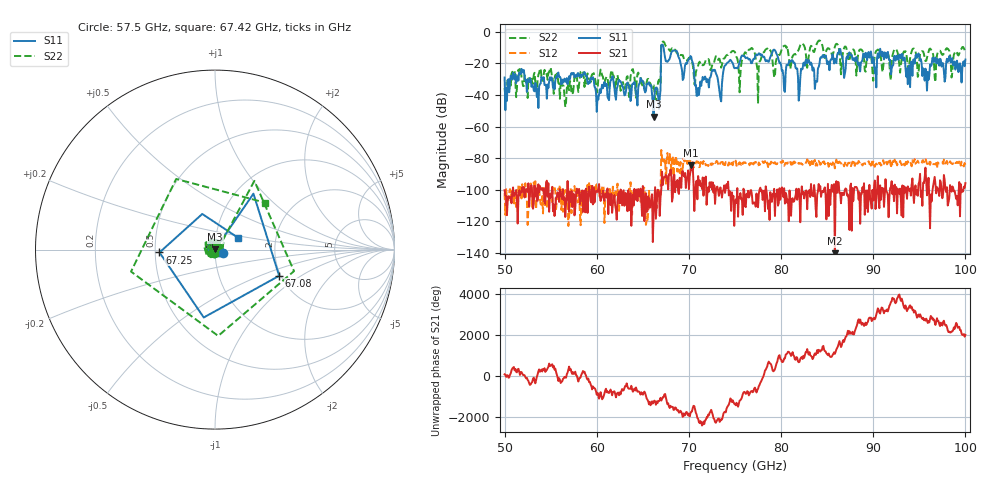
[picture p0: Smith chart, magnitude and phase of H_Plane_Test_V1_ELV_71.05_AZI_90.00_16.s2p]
! 11/27/2026 8:11:49 AM
! C:\ANRITSUVNA\TEMP\TEMP.S2P
! CHANNEL.1
! TR.MEASUREMENT
! RAW.DATA
# HZ S RI R 50.0
! FREQ.HZ  S11RE  S11IM  S21RE  S21IM  S12RE  S12IM  S22RE  S22IM
!; PortSelection: Port_12
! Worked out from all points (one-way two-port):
!   601 points, 50 GHz to 100 GHz, reference 50 ohm
!   highest |S21| = -84.42 dB at 70.25 GHz (marker M1); lowest = -140.0 dB at 85.83 GHz (marker M2)
!   lowest |S11| = -53.8 dB at 66.17 GHz (marker M3), VSWR 1.00, Z = 50.1 + j0.157 ohm
!   |S11| at or under -10 dB: start of sweep to 67 GHz; 67.24 GHz to end of sweep
!   |S22| runs from -47.7 to -5.6 dB; largest |S21 - S12| = 0.00019
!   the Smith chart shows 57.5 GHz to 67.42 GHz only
!   S11 on the Smith chart (normalised r, x): 57.5 GHz: 1.09, -0.04; 67.08 GHz: 1.96, -0.67; 67.25 GHz: 0.53, -0.02; 67.42 GHz: 1.29, +0.17
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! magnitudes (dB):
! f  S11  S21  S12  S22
! 50 GHz  -29.1  -100.3  -102.0  -35.7
! 51.67 GHz  -26.2  -103.5  -98.1  -23.1
! 57.5 GHz  -26.1  -102.6  -98.9  -34.4
! 58.42 GHz  -27.1  -100.3  -114.4  -24.7
! 60.17 GHz  -42.9  -99.6  -101.2  -30.2
! 66.17 GHz  -53.8  -115.0  -106.9  -33.9
! 66.67 GHz  -41.7  -100.1  -103.7  -31.6
! 67.08 GHz  -8.3  -88.5  -80.1  -6.8
! 67.25 GHz  -10.2  -92.6  -80.8  -6.3
! 67.42 GHz  -16.7  -92.2  -80.8  -8.3
! 70.25 GHz  -16.0  -84.4  -86.3  -18.7
! 70.92 GHz  -40.5  -106.0  -82.2  -22.9
! 75 GHz  -23.1  -109.1  -83.1  -13.0
! 79.25 GHz  -11.4  -99.4  -82.9  -29.0
! 80.25 GHz  -28.0  -104.5  -82.7  -9.3
! 83.42 GHz  -24.6  -103.6  -85.1  -10.9
! 85.83 GHz  -17.1  -140.0  -86.4  -9.7
! 91.67 GHz  -16.8  -117.3  -82.0  -15.3
! 93.75 GHz  -33.3  -97.8  -81.9  -21.7
! 94.83 GHz  -14.8  -103.7  -81.6  -28.6
! 95.83 GHz  -37.3  -103.5  -83.5  -16.4
! 100 GHz  -17.7  -95.8  -84.1  -12.6
